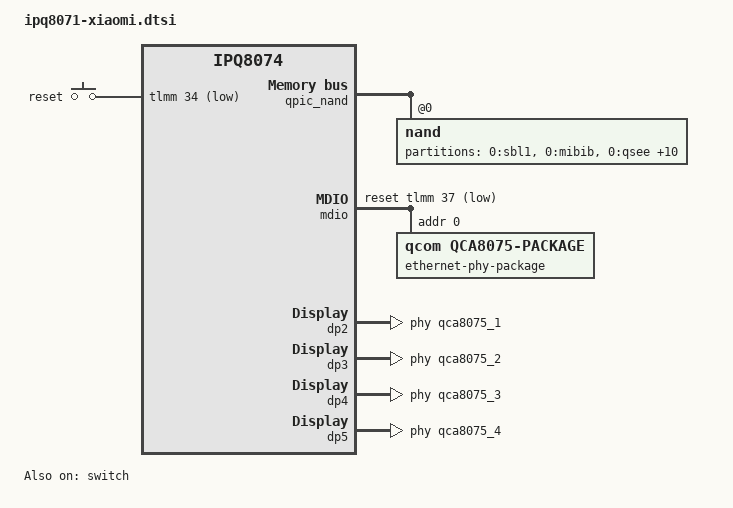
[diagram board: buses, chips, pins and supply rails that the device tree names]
// SPDX-License-Identifier: GPL-2.0-or-later OR MIT

#include "ipq8074.dtsi"
#include "ipq8074-ess.dtsi"
#include "ipq8074-nss.dtsi"
#include "ipq8074-common.dtsi"
#include "ipq8074-ac-cpu.dtsi"

#include <dt-bindings/gpio/gpio.h>
#include <dt-bindings/input/input.h>
#include <dt-bindings/leds/common.h>

/ {
	aliases {
		serial0 = &blsp1_uart5;

		led-boot = &led_system_yellow;
		led-failsafe = &led_system_yellow;
		led-running = &led_system_blue;
		led-upgrade = &led_system_yellow;

		label-mac-device = &dp2;
	};

	chosen {
		stdout-path = "serial0:115200n8";
		bootargs-append = " root=/dev/ubiblock0_0";
	};

	keys {
		compatible = "gpio-keys";

		reset {
			label = "reset";
			gpios = <&tlmm 34 GPIO_ACTIVE_LOW>;
			linux,code = <KEY_RESTART>;
		};
	};
};

&qpic_nand {
	status = "okay";

	partitions {
		status = "disabled";
	};

	nand@0 {
		reg = <0>;

		nand-ecc-strength = <4>;
		nand-ecc-step-size = <512>;
		nand-bus-width = <8>;

		partitions {
			compatible = "fixed-partitions";
			#address-cells = <1>;
			#size-cells = <1>;

			partition@0 {
				label = "0:sbl1";
				reg = <0x00000000 0x00100000>;
				read-only;
			};

			partition@100000 {
				label = "0:mibib";
				reg = <0x00100000 0x00100000>;
				read-only;
			};

			partition@200000 {
				label = "0:qsee";
				reg = <0x00200000 0x00300000>;
				read-only;
			};

			partition@500000 {
				label = "0:devcfg";
				reg = <0x00500000 0x00080000>;
				read-only;
			};

			partition@580000 {
				label = "0:rpm";
				reg = <0x00580000 0x00080000>;
				read-only;
			};

			partition@600000 {
				label = "0:cdt";
				reg = <0x00600000 0x00080000>;
				read-only;
			};

			partition@680000 {
				label = "0:appsblenv";
				reg = <0x00680000 0x00080000>;
			};

			partition@700000 {
				label = "0:appsbl";
				reg = <0x00700000 0x00100000>;
				read-only;
			};

			partition@800000 {
				label = "0:art";
				reg = <0x00800000 0x00080000>;
				read-only;

				nvmem-layout {
					compatible = "fixed-layout";
					#address-cells = <1>;
					#size-cells = <1>;

					macaddr_dp2: macaddr@6 {
						reg = <0x06 0x06>;
					};

					macaddr_dp3: macaddr@c {
						reg = <0x0c 0x06>;
					};

					macaddr_dp4: macaddr@12 {
						reg = <0x12 0x06>;
					};

					macaddr_dp5: macaddr@18 {
						reg = <0x18 0x06>;
					};

					caldata_qca9889: caldata@4d000 {
						reg = <0x33000 0x00844>;
					};
				};
			};

			partition@880000 {
				label = "bdata";
				reg = <0x00880000 0x00080000>;
			};

			partition@900000 {
				label = "pstore";
				reg = <0x00900000 0x00100000>;
			};

			partition@a00000 {
				label = "ubi_kernel";
				reg = <0x00a00000 0x023c0000>;
			};

			rootfs: partition@2dc0000 {
				label = "rootfs";
				reg = <0x02dc0000 0x0d240000>;
			};
		};
	};
};

&mdio {
	status = "okay";

	pinctrl-0 = <&mdio_pins>;
	pinctrl-names = "default";
	reset-gpios = <&tlmm 37 GPIO_ACTIVE_LOW>;

	ethernet-phy-package@0 {
		compatible = "qcom,qca8075-package";
		#address-cells = <1>;
		#size-cells = <0>;
		reg = <0>;

		qca8075_1: ethernet-phy@1 {
			compatible = "ethernet-phy-ieee802.3-c22";
			reg = <1>;
		};

		qca8075_2: ethernet-phy@2 {
			compatible = "ethernet-phy-ieee802.3-c22";
			reg = <2>;
		};

		qca8075_3: ethernet-phy@3 {
			compatible = "ethernet-phy-ieee802.3-c22";
			reg = <3>;
		};

		qca8075_4: ethernet-phy@4 {
			compatible = "ethernet-phy-ieee802.3-c22";
			reg = <4>;
		};
	};
};

&switch {
	status = "okay";

	switch_lan_bmp = <(ESS_PORT3 | ESS_PORT4 | ESS_PORT5)>;
	switch_wan_bmp = <ESS_PORT2>;
	switch_mac_mode = <MAC_MODE_PSGMII>;

	qcom,port_phyinfo {
		port@2 {
			port_id = <2>;
			phy_address = <1>;
		};

		port@3 {
			port_id = <3>;
			phy_address = <2>;
		};

		port@4 {
			port_id = <4>;
			phy_address = <3>;
		};

		port@5 {
			port_id = <5>;
			phy_address = <4>;
		};
	};
};

&edma {
	status = "okay";
};

&dp2 {
	status = "okay";
	phy-handle = <&qca8075_1>;
	label = "wan";
	nvmem-cells = <&macaddr_dp2>;
	nvmem-cell-names = "mac-address";
};

&dp3 {
	status = "okay";
	phy-handle = <&qca8075_2>;
	label = "lan1";
	nvmem-cells = <&macaddr_dp3>;
	nvmem-cell-names = "mac-address";
};

&dp4 {
	status = "okay";
	phy-handle = <&qca8075_3>;
	label = "lan2";
	nvmem-cells = <&macaddr_dp4>;
	nvmem-cell-names = "mac-address";
};

&dp5 {
	status = "okay";
	phy-handle = <&qca8075_4>;
	label = "lan3";
	nvmem-cells = <&macaddr_dp5>;
	nvmem-cell-names = "mac-address";
};
